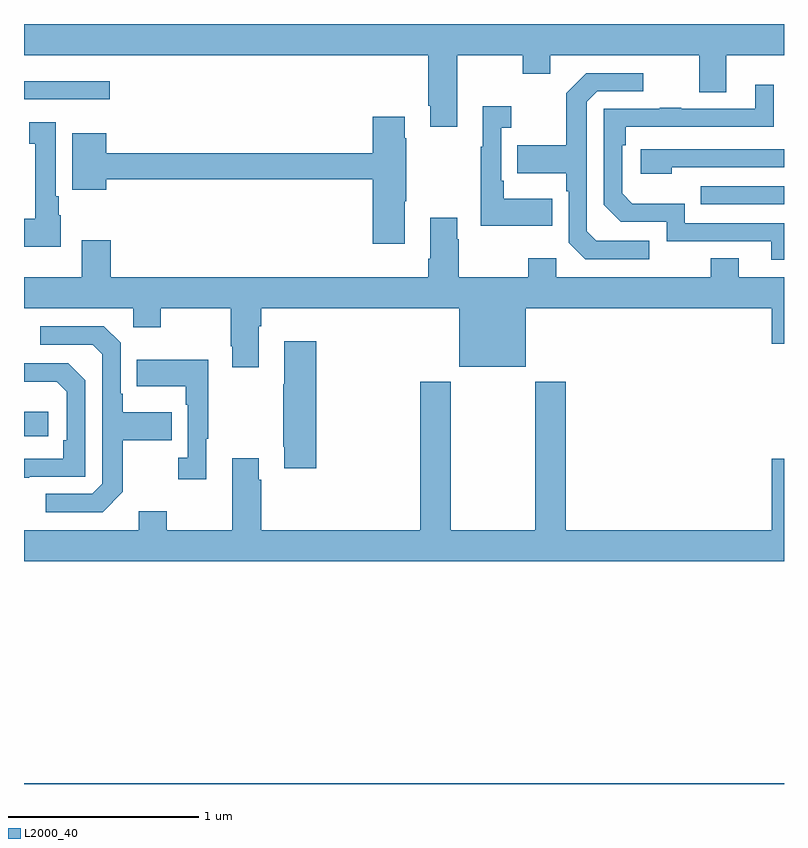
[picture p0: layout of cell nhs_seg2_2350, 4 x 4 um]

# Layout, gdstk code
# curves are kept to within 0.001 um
import gdstk
lib = gdstk.Library(unit=1e-6, precision=1e-09)
def R(c, l, rs):  # rectangles x0, y0, x1, y1
    for r in rs: c.add(gdstk.rectangle(r[:2], r[2:], *l))
def P(c, l, *ps):  # polygons
    for p in ps: c.add(gdstk.Polygon(p, *l))
L2000_40 = (2000, 40)

nhs_seg2_2350 = lib.new_cell('nhs_seg2_2350')
R(nhs_seg2_2350, L2000_40, [(233,643.8,237,643.804), (233,645.63,233.128,645.76), (236.563,646.851,237,646.947), (233,647.403,233.452,647.5)])
P(nhs_seg2_2350, L2000_40, [(235.279,647.636),(235.624,647.636),(235.624,647.537),(235.771,647.537),(235.771,647.636),(236.555,647.636),(236.555,647.442),(236.695,647.442),(236.695,647.636),(237,647.636),(237,647.8),(233,647.8),(233,647.636),(235.127,647.636),(235.127,647.371),(235.139,647.371),(235.139,647.259),(235.279,647.259)],
  [(236.29,646.659),(236.013,646.659),(235.962,646.71),(235.962,647.391),(236.016,647.445),(236.26,647.445),(236.26,647.541),(235.959,647.541),(235.854,647.435),(235.854,647.163),(235.597,647.163),(235.597,647.015),(235.854,647.015),(235.854,646.919),(235.866,646.919),(235.866,646.65),(235.953,646.563),(236.29,646.563)],
  [(237,646.752),(236.478,646.752),(236.478,646.855),(236.201,646.855),(236.148,646.908),(236.148,647.162),(236.168,647.162),(236.168,647.259),(236.945,647.26),(236.945,647.479),(236.849,647.479),(236.849,647.355),(236.459,647.355),(236.459,647.36),(236.347,647.36),(236.347,647.355),(236.052,647.355),(236.052,646.848),(236.142,646.758),(236.382,646.758),(236.382,646.656),(236.933,646.656),(236.933,646.56),(237,646.56)],
  [(235.781,646.879),(235.525,646.879),(235.525,646.975),(235.512,646.975),(235.512,647.255),(235.564,647.255),(235.564,647.368),(235.415,647.368),(235.415,647.155),(235.404,647.155),(235.404,646.739),(235.781,646.739)],
  [(235.003,646.867),(235.011,646.867),(235.011,647.198),(235.003,647.198),(235.003,647.311),(234.836,647.311),(234.836,647.12),(233.434,647.12),(233.434,647.224),(233.255,647.224),(233.255,646.928),(233.434,646.928),(233.434,646.984),(234.836,646.984),(234.836,646.644),(235.003,646.644)],
  [(233.194,646.794),(233.182,646.794),(233.182,646.894),(233.167,646.894),(233.167,647.284),(233.027,647.284),(233.027,647.171),(233.06,647.171),(233.06,646.774),(233,646.774),(233,646.628),(233.194,646.628)],
  [(236.408,647.046),(237,647.046),(237,647.142),(236.247,647.142),(236.247,647.012),(236.408,647.012)],
  [(236.761,646.567),(236.614,646.567),(236.614,646.468),(235.8,646.468),(235.8,646.567),(235.654,646.567),(235.654,646.468),(235.287,646.468),(235.287,646.667),(235.279,646.667),(235.279,646.78),(235.139,646.78),(235.139,646.564),(235.127,646.564),(235.127,646.468),(233.456,646.468),(233.456,646.663),(233.303,646.663),(233.303,646.468),(233,646.468),(233,646.304),(233.574,646.304),(233.574,646.205),(233.721,646.205),(233.721,646.304),(234.088,646.304),(234.088,646.105),(234.095,646.105),(234.095,645.993),(234.235,645.993),(234.235,646.208),(234.248,646.208),(234.248,646.304),(235.292,646.304),(235.292,645.995),(235.642,645.995),(235.642,646.304),(236.936,646.304),(236.936,646.116),(237,646.116),(237,646.468),(236.761,646.468)],
  [(233.521,645.337),(233.521,645.61),(233.777,645.61),(233.777,645.757),(233.521,645.757),(233.521,645.853),(233.508,645.853),(233.508,646.122),(233.421,646.209),(233.085,646.209),(233.085,646.113),(233.361,646.113),(233.412,646.062),(233.412,645.381),(233.358,645.327),(233.115,645.327),(233.115,645.231),(233.415,645.231)],
  [(234.539,646.129),(234.371,646.129),(234.371,645.905),(234.364,645.905),(234.364,645.574),(234.371,645.574),(234.371,645.462),(234.539,645.462)],
  [(233.959,645.617),(233.971,645.617),(233.971,646.033),(233.593,646.033),(233.593,645.893),(233.85,645.893),(233.85,645.797),(233.862,645.797),(233.862,645.518),(233.811,645.518),(233.811,645.405),(233.959,645.405)],
  [(233.027,645.417),(233.322,645.417),(233.322,645.924),(233.232,646.014),(233,646.014),(233,645.917),(233.173,645.917),(233.226,645.864),(233.226,645.61),(233.206,645.61),(233.206,645.513),(233,645.513),(233,645.412),(233.027,645.412)],
  [(234.235,645.401),(234.235,645.514),(234.095,645.514),(234.095,645.136),(233.751,645.136),(233.751,645.235),(233.603,645.235),(233.603,645.136),(233,645.136),(233,644.972),(237,644.972),(237,645.511),(236.936,645.511),(236.936,645.136),(235.85,645.136),(235.85,645.916),(235.69,645.916),(235.69,645.136),(235.245,645.136),(235.245,645.916),(235.085,645.916),(235.085,645.136),(234.248,645.136),(234.248,645.401)])

lib.write_gds('nhs_seg2_2350.gds')
